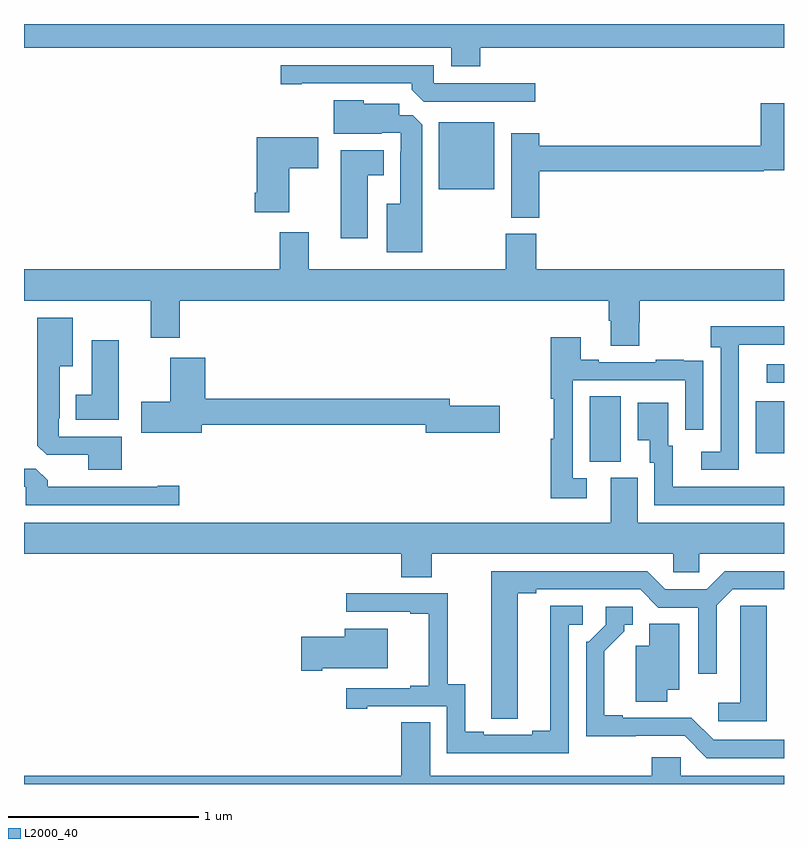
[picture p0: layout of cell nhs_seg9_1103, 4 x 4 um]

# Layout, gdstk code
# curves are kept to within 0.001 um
import gdstk
lib = gdstk.Library(unit=1e-6, precision=1e-09)
def R(c, l, rs):  # rectangles x0, y0, x1, y1
    for r in rs: c.add(gdstk.rectangle(r[:2], r[2:], *l))
def P(c, l, *ps):  # polygons
    for p in ps: c.add(gdstk.Polygon(p, *l))
L2000_40 = (2000, 40)

nhs_seg9_1103 = lib.new_cell('nhs_seg9_1103')
R(nhs_seg9_1103, L2000_40, [(173.978,1238.197,174.142,1238.54), (174.851,1238.241,175,1238.515), (174.909,1238.613,175,1238.709), (173.183,1239.629,173.476,1239.982)])
P(nhs_seg9_1103, L2000_40, [(173.402,1240.376),(175,1240.376),(175,1240.5),(171,1240.5),(171,1240.376),(173.249,1240.376),(173.249,1240.277),(173.402,1240.277)],
  [(173.692,1240.188),(173.157,1240.188),(173.157,1240.284),(172.35,1240.284),(172.35,1240.183),(172.462,1240.183),(172.462,1240.188),(173.042,1240.188),(173.042,1240.154),(173.103,1240.092),(173.692,1240.092)],
  [(173.095,1239.971),(173.046,1240.02),(172.975,1240.02),(172.975,1240.081),(172.788,1240.081),(172.788,1240.099),(172.631,1240.099),(172.631,1239.923),(172.883,1239.923),(172.883,1239.927),(172.983,1239.927),(172.983,1239.827),(172.979,1239.827),(172.979,1239.553),(172.91,1239.553),(172.91,1239.299),(173.095,1239.299)],
  [(173.711,1239.724),(174.894,1239.724),(174.894,1239.731),(175,1239.731),(175,1240.084),(174.878,1240.084),(174.878,1239.86),(173.711,1239.86),(173.711,1239.925),(173.564,1239.925),(173.564,1239.481),(173.711,1239.481)],
  [(172.396,1239.742),(172.549,1239.742),(172.549,1239.904),(172.226,1239.904),(172.226,1239.613),(172.214,1239.613),(172.214,1239.509),(172.396,1239.509)],
  [(172.81,1239.704),(172.894,1239.704),(172.894,1239.835),(172.667,1239.835),(172.667,1239.372),(172.81,1239.372)],
  [(174.237,1238.931),(174.242,1238.931),(174.242,1239.044),(175,1239.044),(175,1239.208),(173.696,1239.208),(173.696,1239.396),(173.536,1239.396),(173.536,1239.208),(172.498,1239.208),(172.498,1239.403),(172.346,1239.403),(172.346,1239.208),(171,1239.208),(171,1239.044),(171.668,1239.044),(171.668,1238.85),(171.821,1238.85),(171.821,1239.044),(174.077,1239.044),(174.077,1238.938),(174.089,1238.938),(174.089,1238.806),(174.237,1238.806)],
  [(171.514,1238.328),(171.183,1238.328),(171.183,1238.425),(171.187,1238.425),(171.187,1238.699),(171.256,1238.699),(171.256,1238.953),(171.071,1238.953),(171.071,1238.281),(171.12,1238.232),(171.338,1238.232),(171.338,1238.153),(171.514,1238.153)],
  [(174.762,1238.611),(174.763,1238.611),(174.763,1238.811),(175,1238.811),(175,1238.908),(174.615,1238.908),(174.615,1238.798),(174.666,1238.798),(174.666,1238.25),(174.564,1238.25),(174.564,1238.154),(174.762,1238.154)],
  [(173.962,1238.109),(173.889,1238.109),(173.889,1238.625),(174.48,1238.625),(174.48,1238.364),(174.576,1238.364),(174.576,1238.618),(174.575,1238.618),(174.575,1238.727),(174.473,1238.727),(174.473,1238.734),(174.325,1238.734),(174.325,1238.721),(174.025,1238.721),(174.025,1238.734),(173.929,1238.734),(173.929,1238.851),(173.773,1238.851),(173.773,1238.528),(173.788,1238.528),(173.788,1238.316),(173.773,1238.316),(173.773,1238.004),(173.962,1238.004)],
  [(171.499,1238.836),(171.356,1238.836),(171.356,1238.548),(171.272,1238.548),(171.272,1238.417),(171.499,1238.417)],
  [(171.936,1238.392),(173.114,1238.392),(173.114,1238.35),(173.503,1238.35),(173.503,1238.492),(173.242,1238.492),(173.242,1238.528),(171.953,1238.528),(171.953,1238.743),(171.77,1238.743),(171.77,1238.511),(171.618,1238.511),(171.618,1238.348),(171.936,1238.348)],
  [(175,1238.065),(174.899,1238.065),(174.899,1238.064),(174.415,1238.064),(174.415,1238.28),(174.391,1238.28),(174.391,1238.506),(174.23,1238.506),(174.23,1238.309),(174.293,1238.309),(174.293,1238.19),(174.318,1238.19),(174.318,1237.968),(175,1237.968)],
  [(171.817,1238.069),(171.704,1238.069),(171.704,1238.064),(171.125,1238.064),(171.125,1238.098),(171.063,1238.16),(171,1238.16),(171,1238.064),(171.009,1238.064),(171.009,1237.968),(171.817,1237.968)],
  [(173.145,1237.712),(174.417,1237.712),(174.417,1237.614),(174.555,1237.614),(174.555,1237.712),(175,1237.712),(175,1237.876),(174.229,1237.876),(174.229,1238.112),(174.089,1238.112),(174.089,1237.876),(171,1237.876),(171,1237.712),(172.985,1237.712),(172.985,1237.588),(173.145,1237.588)],
  [(173.599,1237.504),(173.695,1237.504),(173.695,1237.524),(174.243,1237.524),(174.339,1237.428),(174.549,1237.428),(174.549,1237.08),(174.645,1237.08),(174.645,1237.44),(174.729,1237.524),(175,1237.524),(175,1237.62),(174.689,1237.62),(174.593,1237.524),(174.375,1237.524),(174.279,1237.62),(173.459,1237.62),(173.46,1236.844),(173.599,1236.844)],
  [(173.868,1237.338),(173.941,1237.338),(173.941,1237.439),(173.771,1237.439),(173.771,1236.779),(173.675,1236.779),(173.675,1236.759),(173.419,1236.759),(173.419,1236.774),(173.323,1236.774),(173.323,1237.025),(173.229,1237.025),(173.229,1237.503),(172.695,1237.503),(172.695,1237.407),(173.033,1237.407),(173.033,1237.395),(173.129,1237.395),(173.129,1237.018),(173.033,1237.018),(173.033,1237.005),(172.695,1237.005),(172.695,1236.897),(172.807,1236.897),(172.807,1236.909),(173.226,1236.909),(173.226,1236.663),(173.868,1236.663)],
  [(174.91,1237.439),(174.771,1237.439),(174.771,1237.331),(174.77,1237.331),(174.77,1236.928),(174.654,1236.928),(174.654,1236.831),(174.91,1236.831)],
  [(175,1236.732),(174.63,1236.732),(174.512,1236.85),(174.151,1236.849),(174.151,1236.862),(174.055,1236.862),(174.055,1237.198),(174.16,1237.303),(174.16,1237.338),(174.205,1237.338),(174.205,1237.434),(174.063,1237.434),(174.063,1237.338),(173.973,1237.248),(173.958,1237.248),(173.958,1236.752),(174.477,1236.753),(174.594,1236.636),(175,1236.636)],
  [(174.385,1236.995),(174.448,1236.995),(174.448,1237.343),(174.29,1237.343),(174.29,1237.228),(174.221,1237.228),(174.221,1236.934),(174.385,1236.934)],
  [(172.57,1237.109),(172.915,1237.109),(172.915,1237.318),(172.688,1237.318),(172.688,1237.275),(172.458,1237.275),(172.458,1237.097),(172.57,1237.097)],
  [(175,1236.544),(174.456,1236.544),(174.456,1236.642),(174.305,1236.642),(174.305,1236.544),(173.137,1236.544),(173.137,1236.824),(172.985,1236.824),(172.985,1236.544),(171,1236.544),(171,1236.5),(175,1236.5)])

lib.write_gds('nhs_seg9_1103.gds')
